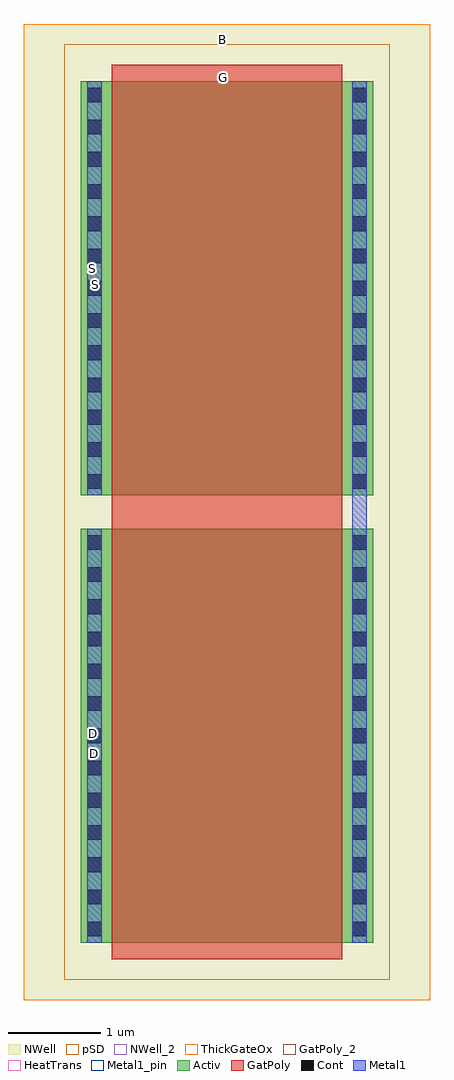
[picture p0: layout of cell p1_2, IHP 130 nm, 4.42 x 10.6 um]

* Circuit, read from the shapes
.subckt p1_2 B D G S
XM1 p1_1_1/D G D B sg13_hv_pmos w=4.5u l=2.5u
XM2 p1_1_1/D G S B sg13_hv_pmos w=4.5u l=2.5u
.ends

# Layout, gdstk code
from math import pi, radians
import gdstk
lib = gdstk.Library(unit=1e-6, precision=1e-09)
def R(c, l, rs):  # rectangles x0, y0, x1, y1
    for r in rs: c.add(gdstk.rectangle(r[:2], r[2:], *l))
def A(c, l, x, y, w, h, nx, ny, dx, dy):  # array of equal rectangles
    R(c, l, [(x+i*dx, y+j*dy, x+i*dx+w, y+j*dy+h) for i in range(nx) for j in range(ny)])
Activ = (1, 0)
GatPoly = (5, 0)
GatPoly_2 = (5, 2)
Cont = (6, 0)
Metal1 = (8, 0)
Metal1_pin = (8, 2)
pSD = (14, 0)
NWell = (31, 0)
NWell_2 = (31, 2)
ThickGateOx = (44, 0)
HeatTrans = (51, 0)

pmoshv = lib.new_cell('pmosHV')
R(pmoshv, Activ, [(0,0,0.3,0.3), (0,0,3.18,4.5), (2.88,0,3.18,0.3)])
R(pmoshv, GatPoly, [(0.34,-0.18,2.84,4.68)])
R(pmoshv, GatPoly_2, [(0.34,-0.18,2.84,4.68)])
A(pmoshv, Cont, 0.07, 0.07, 0.16, 0.16, 1, 13, 0, 0.35)
A(pmoshv, Cont, 2.95, 0.07, 0.16, 0.16, 1, 13, 0, 0.35)
R(pmoshv, Metal1, [(0.07,0,0.23,4.5), (2.95,0,3.11,4.5)])
R(pmoshv, Metal1_pin, [(0.07,0,0.23,4.5), (2.95,0,3.11,4.5)])
R(pmoshv, pSD, [(-0.18,-0.4,3.36,4.9)])
R(pmoshv, NWell, [(-0.62,-0.62,3.8,5.12)])
R(pmoshv, ThickGateOx, [(-0.62,-0.62,3.8,5.12)])
R(pmoshv, HeatTrans, [(0.34,-0.18,2.84,4.68)])
pmoshv.add(gdstk.Label('pmosHV', (1.59,2.25), layer=63, texttype=0))
pmoshv.add(gdstk.Label('pmos', (1.59,2.25), layer=51, texttype=0))

p1_1 = lib.new_cell('p1_1')
R(p1_1, NWell_2, [(0,0,4.42,5.74)])
p1_1.add(gdstk.Reference(pmoshv, (0.62,0.62)))
p1_1.add(gdstk.Label('G', (2.18,4.89), layer=5, texttype=2))
p1_1.add(gdstk.Label('S', (0.75,2.99), layer=8, texttype=2))
p1_1.add(gdstk.Label('D', (3.65,3.01), layer=8, texttype=2))
p1_1.add(gdstk.Label('B', (2.15,5.57), layer=31, texttype=0))
p1_1.add(gdstk.Label('D', (3.65,3.01), layer=63, texttype=0))
p1_1.add(gdstk.Label('S', (0.75,2.99), layer=63, texttype=0))
p1_1.add(gdstk.Label('G', (2.17,4.59), layer=63, texttype=0))
p1_1.add(gdstk.Label('B', (2.16,5.57), layer=63, texttype=0))

p1_2 = lib.new_cell('p1_2')
R(p1_2, Metal1, [(3.57,4.76,3.73,5.16)])
R(p1_2, Metal1_pin, [(3.57,4.76,3.73,5.12)])
p1_2.add(gdstk.Reference(p1_1, (4.42,-0.36), rotation=pi, x_reflection=True))
p1_2.add(gdstk.Reference(p1_1, (0,4.5)))
p1_2.add(gdstk.Label('G', (2.17,9.66), layer=5, texttype=2))
p1_2.add(gdstk.Label('S', (0.78,7.41), layer=8, texttype=2))
p1_2.add(gdstk.Label('D', (0.77,2.32), layer=8, texttype=2))
p1_2.add(gdstk.Label('S', (0.75,7.59), layer=63, texttype=0))
p1_2.add(gdstk.Label('D', (0.76,2.53), layer=63, texttype=0))
p1_2.add(gdstk.Label('B', (2.16,10.07), layer=31, texttype=2))

lib.write_gds('p1_2.gds')
